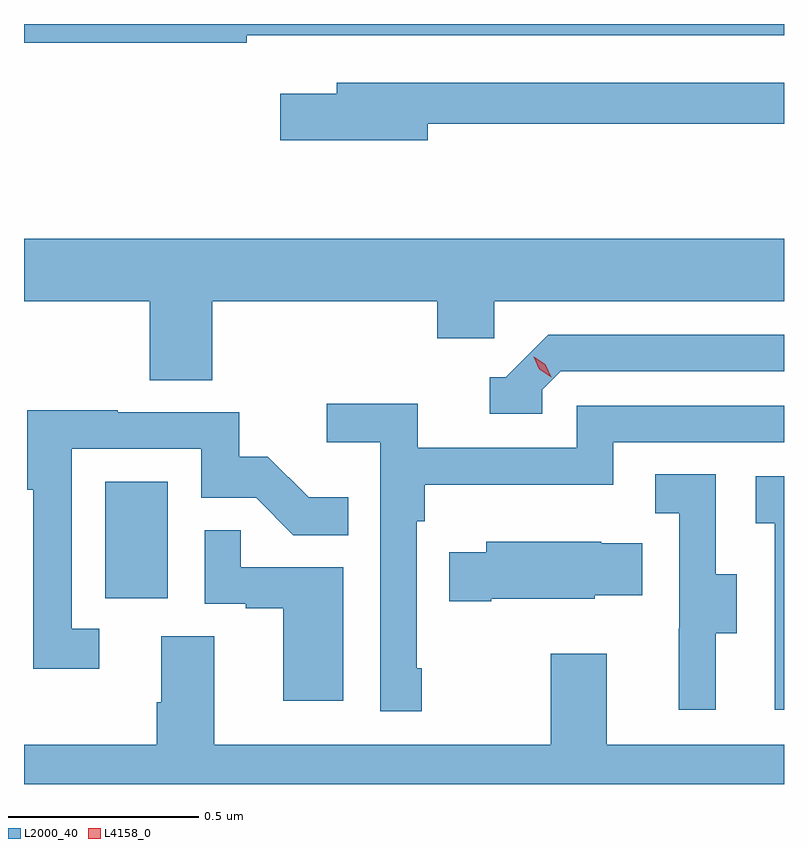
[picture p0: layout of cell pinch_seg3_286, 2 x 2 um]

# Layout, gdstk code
import gdstk
lib = gdstk.Library(unit=1e-6, precision=1e-09)
def R(c, l, rs):  # rectangles x0, y0, x1, y1
    for r in rs: c.add(gdstk.rectangle(r[:2], r[2:], *l))
def P(c, l, *ps):  # polygons
    for p in ps: c.add(gdstk.Polygon(p, *l))
L2000_40 = (2000, 40)
L4158_0 = (4158, 0)

pinch_seg3_286 = lib.new_cell('pinch_seg3_286')
R(pinch_seg3_286, L2000_40, [(936.548,710.79,936.712,711.097)])
P(pinch_seg3_286, L2000_40, [(936.92,712.272),(938.334,712.272),(938.334,712.301),(936.334,712.301),(936.334,712.252),(936.92,712.252)],
  [(937.396,712.038),(938.334,712.038),(938.334,712.146),(937.157,712.146),(937.157,712.117),(937.008,712.117),(937.008,711.995),(937.396,711.995)],
  [(936.83,711.572),(937.421,711.572),(937.421,711.474),(937.572,711.474),(937.572,711.572),(938.334,711.572),(938.334,711.736),(936.334,711.736),(936.334,711.572),(936.665,711.572),(936.665,711.364),(936.83,711.364)],
  [(937.698,711.339),(937.746,711.387),(938.334,711.387),(938.334,711.483),(937.713,711.483),(937.602,711.372),(937.559,711.372),(937.559,711.276),(937.698,711.276)],
  [(937.381,710.605),(937.368,710.605),(937.368,710.993),(937.388,710.993),(937.388,711.089),(937.884,711.089),(937.884,711.201),(938.334,711.201),(938.334,711.297),(937.788,711.297),(937.788,711.186),(937.37,711.186),(937.37,711.302),(937.131,711.302),(937.131,711.2),(937.272,711.2),(937.272,710.493),(937.381,710.493)],
  [(936.532,710.709),(936.459,710.709),(936.459,711.183),(936.801,711.183),(936.801,711.054),(936.945,711.054),(937.043,710.956),(937.187,710.956),(937.187,711.055),(937.083,711.055),(936.976,711.162),(936.9,711.162),(936.9,711.279),(936.581,711.279),(936.581,711.284),(936.343,711.284),(936.343,711.076),(936.358,711.076),(936.358,710.604),(936.532,710.604)],
  [(938.155,710.698),(938.209,710.698),(938.209,710.853),(938.154,710.853),(938.154,711.116),(937.995,711.116),(937.995,711.013),(938.058,711.013),(938.058,710.709),(938.057,710.709),(938.057,710.496),(938.155,710.496)],
  [(938.334,711.111),(938.259,711.111),(938.259,710.987),(938.31,710.987),(938.31,710.496),(938.334,710.496)],
  [(937.174,710.871),(936.905,710.871),(936.905,710.969),(936.81,710.969),(936.81,710.775),(936.917,710.775),(936.917,710.763),(937.016,710.763),(937.016,710.52),(937.174,710.52)],
  [(937.564,710.789),(937.836,710.789),(937.836,710.798),(937.961,710.798),(937.961,710.935),(937.853,710.935),(937.853,710.938),(937.551,710.938),(937.551,710.911),(937.453,710.911),(937.453,710.782),(937.564,710.782)],
  [(938.334,710.404),(937.867,710.404),(937.867,710.644),(937.72,710.644),(937.72,710.404),(936.835,710.404),(936.835,710.69),(936.695,710.69),(936.695,710.516),(936.683,710.516),(936.683,710.404),(936.334,710.404),(936.334,710.301),(938.334,710.301)])
P(pinch_seg3_286, L4158_0, [(937.721,711.372),(937.69,711.392),(937.675,711.425),(937.675,711.425),(937.675,711.425),(937.706,711.405),(937.721,711.372),(937.721,711.372)])

lib.write_gds('pinch_seg3_286.gds')
